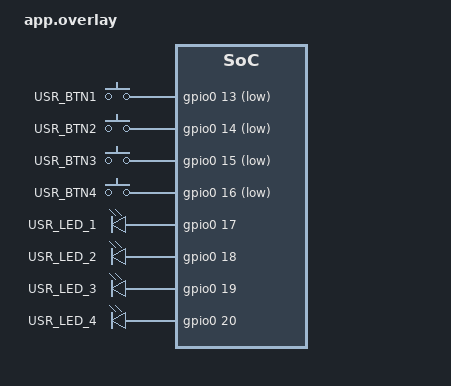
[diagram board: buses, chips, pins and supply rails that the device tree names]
/{
    buttons {
        compatible = "gpio-keys";
        button0: button_0 {
            gpios = < &gpio0 13 (GPIO_PULL_UP | GPIO_ACTIVE_LOW)>;
            label = "USR_BTN1";
        };

        button1: button_1 {
            gpios = < &gpio0 14 (GPIO_PULL_UP | GPIO_ACTIVE_LOW)>;
            label = "USR_BTN2";    
        };

        button2: button_2 {
            gpios = < &gpio0 15 (GPIO_PULL_UP | GPIO_ACTIVE_LOW) >;
            label = "USR_BTN3";
        };

        button3: button_3 {
            gpios = < &gpio0 16 (GPIO_PULL_UP | GPIO_ACTIVE_LOW) >;
            label = "USR_BTN4";
        };
    };

    leds {
        compatible = "gpio-leds";

        led0: led_0 {
          gpios = < &gpio0 17 GPIO_ACTIVE_HIGH>;
          label = "USR_LED_1";  
        };

        led1: led_1 {
            gpios = < &gpio0 18 GPIO_ACTIVE_HIGH >;
            label = "USR_LED_2";
        };

        led2: led_2 {
            gpios = < &gpio0 19 GPIO_ACTIVE_HIGH >;
            label = "USR_LED_3";
        };

        led3: led_3 {
            gpios = < &gpio0 20 GPIO_ACTIVE_HIGH >;
            label = "USR_LED_4";
        };
    };

    alias{
        // User LEDs alias
        led1=&led0;
        led2=&led1;
        led3=&led2;
        led4=&led3;

        // User buttons alias
        btn1=&button0;
        btn2=&button1;
        btn3=&button2;
        btn4=&button3;
    };
};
